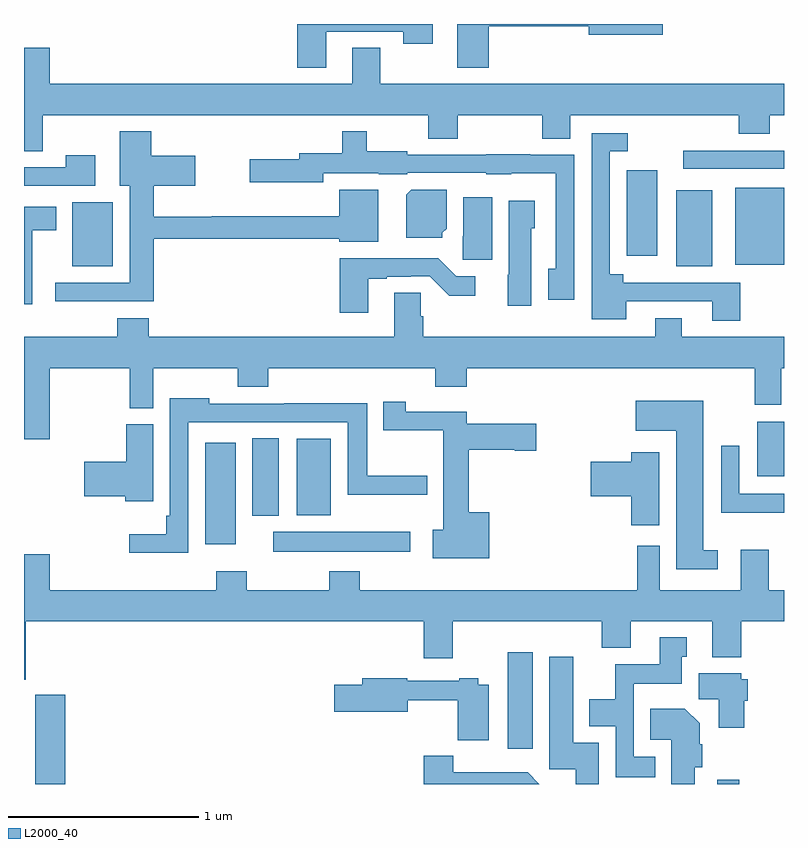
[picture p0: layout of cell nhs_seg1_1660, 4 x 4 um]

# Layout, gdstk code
import gdstk
lib = gdstk.Library(unit=1e-6, precision=1e-09)
def R(c, l, rs):  # rectangles x0, y0, x1, y1
    for r in rs: c.add(gdstk.rectangle(r[:2], r[2:], *l))
def P(c, l, *ps):  # polygons
    for p in ps: c.add(gdstk.Polygon(p, *l))
L2000_40 = (2000, 40)

nhs_seg1_1660 = lib.new_cell('nhs_seg1_1660')
R(nhs_seg1_1660, L2000_40, [(201.058,560.199,201.218,560.668), (204.648,560.199,204.764,560.221), (203.546,560.385,203.677,560.893), (202.311,561.422,203.032,561.526), (201.953,561.462,202.114,561.994), (202.202,561.611,202.342,562.019), (202.436,561.614,202.615,562.015), (204.86,561.818,205,562.105), (201.254,562.925,201.466,563.26), (204.434,562.925,204.622,563.323), (204.743,562.931,205,563.338), (204.173,562.98,204.334,563.428), (204.471,563.436,205,563.532)])
P(nhs_seg1_1660, L2000_40, [(203.446,564.186),(203.972,564.186),(203.972,564.143),(204.361,564.143),(204.361,564.199),(203.279,564.199),(203.279,563.97),(203.446,563.97)],
  [(202.591,564.159),(202.996,564.159),(202.996,564.096),(203.152,564.096),(203.152,564.199),(202.439,564.199),(202.439,563.97),(202.591,563.97)],
  [(201.099,563.72),(203.128,563.72),(203.128,563.596),(203.283,563.596),(203.283,563.72),(203.728,563.72),(203.728,563.596),(203.875,563.596),(203.875,563.72),(204.761,563.72),(204.761,563.621),(204.926,563.621),(204.926,563.72),(205,563.72),(205,563.884),(202.875,563.884),(202.875,564.074),(202.727,564.074),(202.727,563.884),(201.136,563.884),(201.136,564.073),(201,564.073),(201,563.53),(201.099,563.53)],
  [(203.895,563.511),(203.665,563.511),(203.665,563.513),(203.433,563.513),(203.433,563.511),(203.016,563.511),(203.016,563.53),(202.804,563.53),(202.804,563.635),(202.675,563.635),(202.675,563.519),(202.448,563.519),(202.448,563.488),(202.188,563.488),(202.188,563.366),(202.576,563.366),(202.576,563.414),(202.866,563.414),(202.866,563.408),(203.016,563.408),(203.016,563.415),(203.433,563.415),(203.433,563.408),(203.565,563.408),(203.565,563.414),(203.799,563.414),(203.799,562.91),(203.759,562.91),(203.759,562.749),(203.895,562.749)],
  [(201.683,563.068),(202.658,563.068),(202.658,563.054),(202.864,563.054),(202.864,563.326),(202.658,563.326),(202.658,563.186),(201.988,563.186),(201.988,563.185),(201.683,563.185),(201.683,563.348),(201.901,563.348),(201.901,563.506),(201.67,563.506),(201.67,563.635),(201.503,563.635),(201.503,563.348),(201.557,563.348),(201.557,562.836),(201.165,562.836),(201.165,562.739),(201.683,562.739)],
  [(204.771,562.836),(204.154,562.836),(204.154,562.882),(204.084,562.882),(204.084,563.529),(204.178,563.529),(204.178,563.625),(203.988,563.625),(203.988,562.646),(204.169,562.646),(204.169,562.74),(204.623,562.74),(204.623,562.638),(204.771,562.638)],
  [(201.376,563.509),(201.22,563.509),(201.22,563.445),(201,563.445),(201,563.349),(201.376,563.349)],
  [(203.202,563.1),(203.224,563.122),(203.224,563.326),(203.038,563.326),(203.012,563.3),(203.012,563.075),(203.202,563.075)],
  [(203.464,563.287),(203.312,563.287),(203.312,563.082),(203.308,563.082),(203.308,562.959),(203.464,562.959)],
  [(203.671,563.124),(203.689,563.124),(203.689,563.269),(203.552,563.269),(203.552,562.878),(203.546,562.878),(203.546,562.716),(203.671,562.716)],
  [(201.043,563.114),(201.169,563.114),(201.169,563.236),(201,563.236),(201,562.724),(201.043,562.724)],
  [(202.813,562.857),(202.909,562.857),(202.909,562.869),(203.036,562.869),(203.036,562.872),(203.136,562.872),(203.239,562.77),(203.374,562.77),(203.374,562.872),(203.274,562.872),(203.18,562.966),(202.661,562.966),(202.661,562.68),(202.813,562.68)],
  [(201.136,562.388),(201.556,562.388),(201.556,562.177),(201.679,562.177),(201.679,562.388),(202.126,562.388),(202.126,562.289),(202.286,562.289),(202.286,562.388),(203.165,562.388),(203.165,562.289),(203.33,562.289),(203.33,562.388),(204.845,562.388),(204.845,562.194),(204.985,562.194),(204.985,562.388),(205,562.388),(205,562.552),(204.463,562.552),(204.463,562.651),(204.323,562.651),(204.323,562.552),(203.102,562.552),(203.102,562.662),(203.088,562.662),(203.088,562.784),(202.949,562.784),(202.949,562.552),(201.656,562.552),(201.656,562.651),(201.491,562.651),(201.491,562.552),(201,562.552),(201,562.014),(201.136,562.014)],
  [(201.864,562.104),(202.703,562.104),(202.703,561.722),(203.122,561.722),(203.122,561.822),(202.807,561.822),(202.807,562.202),(202.369,562.202),(202.369,562.2),(201.975,562.2),(201.975,562.228),(201.768,562.228),(201.768,561.61),(201.748,561.61),(201.748,561.514),(201.555,561.514),(201.555,561.416),(201.864,561.416)],
  [(204.652,561.428),(204.574,561.428),(204.574,562.216),(204.219,562.216),(204.219,562.058),(204.434,562.058),(204.434,561.33),(204.652,561.33)],
  [(203.449,561.628),(203.342,561.628),(203.342,561.958),(203.582,561.958),(203.582,561.953),(203.695,561.953),(203.695,562.095),(203.329,562.095),(203.329,562.159),(203.01,562.159),(203.01,562.21),(202.892,562.21),(202.892,562.06),(203.207,562.06),(203.207,561.536),(203.151,561.536),(203.151,561.386),(203.449,561.386)],
  [(201.679,562.092),(201.538,562.092),(201.538,561.896),(201.318,561.896),(201.318,561.713),(201.533,561.713),(201.533,561.686),(201.679,561.686)],
  [(205,561.727),(204.765,561.727),(204.765,561.979),(204.669,561.979),(204.669,561.626),(205,561.626)],
  [(204.343,561.946),(204.197,561.946),(204.197,561.896),(203.982,561.896),(203.982,561.713),(204.197,561.713),(204.197,561.561),(204.343,561.561)],
  [(201.01,561.056),(203.105,561.056),(203.105,560.862),(203.257,560.862),(203.257,561.056),(204.041,561.056),(204.041,560.915),(204.193,560.915),(204.193,561.056),(204.623,561.056),(204.623,560.867),(204.776,560.867),(204.776,561.056),(205,561.056),(205,561.22),(204.921,561.22),(204.921,561.433),(204.773,561.433),(204.773,561.22),(204.346,561.22),(204.346,561.454),(204.228,561.454),(204.228,561.22),(202.766,561.22),(202.766,561.319),(202.606,561.319),(202.606,561.22),(202.173,561.22),(202.173,561.319),(202.013,561.319),(202.013,561.22),(201.136,561.22),(201.136,561.409),(201,561.409),(201,560.747),(201.01,560.747)],
  [(204.322,560.343),(204.21,560.343),(204.21,560.726),(204.463,560.726),(204.463,560.868),(204.487,560.868),(204.487,560.971),(204.347,560.971),(204.347,560.83),(204.112,560.83),(204.112,560.644),(203.975,560.644),(203.975,560.504),(204.114,560.504),(204.114,560.235),(204.322,560.235)],
  [(204.025,560.416),(203.89,560.416),(203.89,560.869),(203.765,560.869),(203.765,560.277),(203.903,560.277),(203.903,560.199),(204.025,560.199)],
  [(204.791,560.637),(204.809,560.637),(204.809,560.751),(204.774,560.751),(204.774,560.782),(204.551,560.782),(204.551,560.644),(204.656,560.644),(204.656,560.496),(204.791,560.496)],
  [(203.446,560.722),(203.391,560.722),(203.391,560.755),(203.291,560.755),(203.291,560.742),(203.016,560.742),(203.016,560.755),(202.781,560.755),(202.781,560.721),(202.632,560.721),(202.632,560.579),(203.02,560.579),(203.02,560.641),(203.284,560.641),(203.284,560.429),(203.446,560.429)],
  [(204.529,560.286),(204.569,560.286),(204.569,560.408),(204.556,560.408),(204.556,560.518),(204.478,560.596),(204.295,560.596),(204.295,560.432),(204.407,560.432),(204.407,560.199),(204.529,560.199)],
  [(203.651,560.26),(203.26,560.26),(203.26,560.347),(203.105,560.347),(203.105,560.199),(203.712,560.199)])

lib.write_gds('nhs_seg1_1660.gds')
